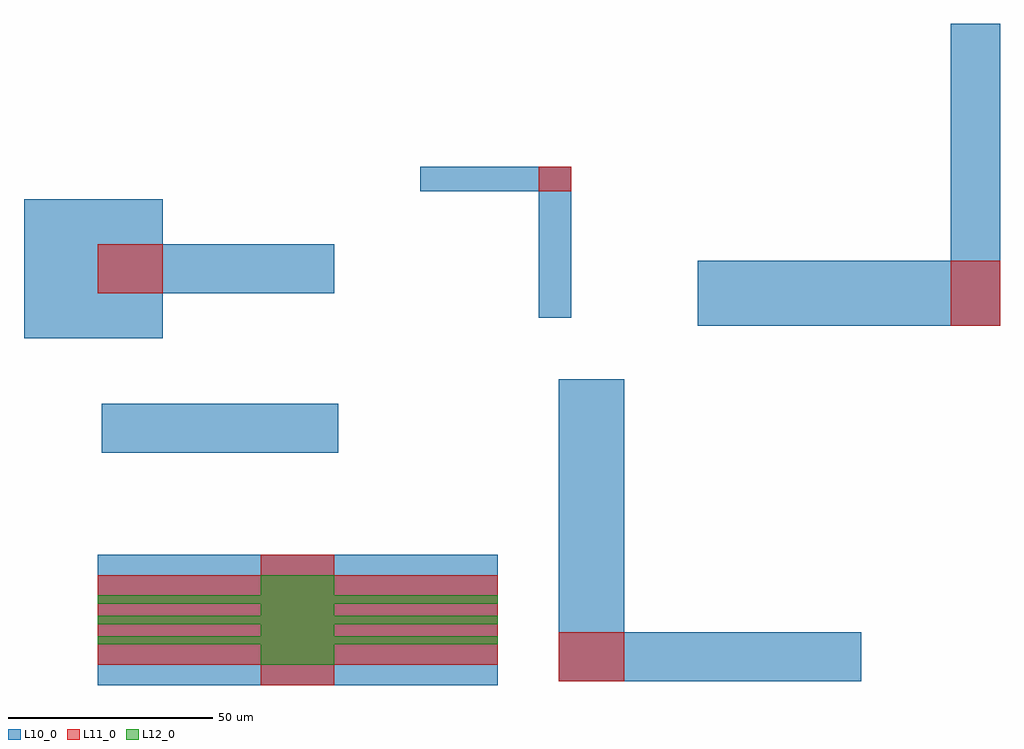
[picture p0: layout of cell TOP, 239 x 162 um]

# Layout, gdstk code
import gdstk
lib = gdstk.Library(unit=1e-6, precision=1e-09)
def R(c, l, rs):  # rectangles x0, y0, x1, y1
    for r in rs: c.add(gdstk.rectangle(r[:2], r[2:], *l))
def P(c, l, *ps):  # polygons
    for p in ps: c.add(gdstk.Polygon(p, *l))
L10_0 = (10, 0)
L11_0 = (11, 0)
L12_0 = (12, 0)

top = lib.new_cell('TOP')
R(top, L10_0, [(7,-100,105,-68), (8,-43,66,-31)])
P(top, L10_0, [(115,-10),(115,21),(86,21),(86,27),(123,27),(123,-10)],
  [(120,-99),(120,-25),(136,-25),(136,-87),(194,-87),(194,-99)],
  [(154,-12),(154,4),(216,4),(216,62),(228,62),(228,-12)],
  [(-11,-15),(-11,19),(23,19),(23,8),(65,8),(65,-4),(23,-4),(23,-15)])
R(top, L11_0, [(120,-99,136,-87), (216,-12,228,4), (7,-4,23,8), (115,21,123,27)])
P(top, L11_0, [(47,-100),(47,-95),(7,-95),(7,-73),(47,-73),(47,-68),(65,-68),(65,-73),(105,-73),(105,-95),(65,-95),(65,-100)])
P(top, L12_0, [(47,-95),(47,-90),(7,-90),(7,-88),(47,-88),(47,-85),(7,-85),(7,-83),(47,-83),(47,-80),(7,-80),(7,-78),(47,-78),(47,-73),(65,-73),(65,-78),(105,-78),(105,-80),(65,-80),(65,-83),(105,-83),(105,-85),(65,-85),(65,-88),(105,-88),(105,-90),(65,-90),(65,-95)])

lib.write_gds('TOP.gds')
